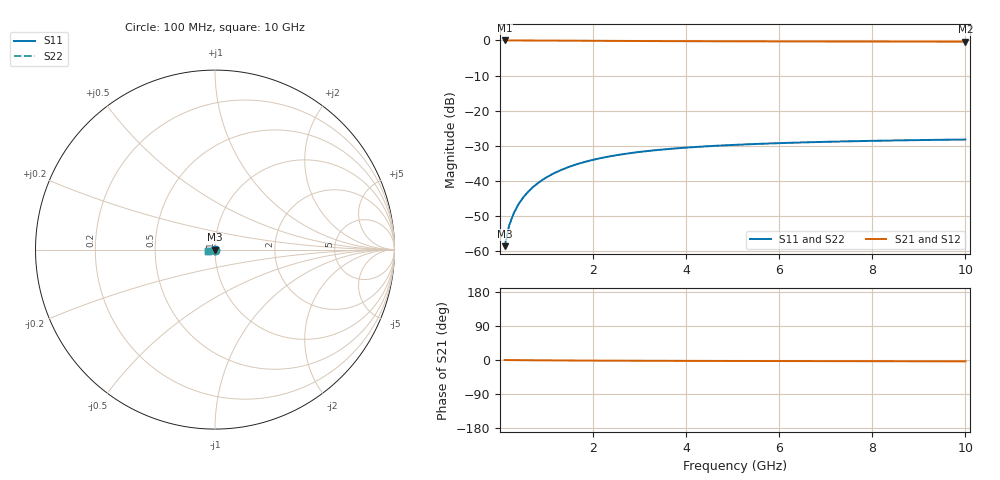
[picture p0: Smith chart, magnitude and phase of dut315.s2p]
! Touchstone file exported from HFSS 2024.1.0
!  File:  C:/UserFiles/LocalFiles/RDL_TSV_Batchsim/temp_TSV1_315_1779616409.aedt
!  Generated:  05:58:50 PM May 24, 2026
!  Design:  TSV1
!  Project:  temp_TSV1_315_1779616409
!  Setup:  Setup1
!  Solution:  Sweep
! Variables:
!  dtsv = 14.98um
!  hbump = 3um
!  htsv = 50.6um
!  lrdl = 252.1521522um
!  p = 40
!  p1 = 52.85um
!  t = 500um
!  trdl = 3um
!  wrdl = 24.89489489um
# GHz S MA R 50.000000
! Terminal data exported
! Port[1] = TSV22_T1
! Port[2] = TSV22_T2
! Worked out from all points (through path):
!   100 points, 100 MHz to 10 GHz, reference 50 ohm
!   highest |S21| = 0.00 dB at 100 MHz (marker M1); lowest = -0.3 dB at 10 GHz (marker M2)
!   lowest |S11| = -58.5 dB at 100 MHz (marker M3), VSWR 1.00, Z = 50 - j0.119 ohm
!   |S11| at or under -10 dB: start of sweep to end of sweep
!   |S22| runs from -58.5 to -28.2 dB; largest |S21 - S12| = 4.2e-15
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0.1  0.001185 -88.8  0.9999 -0.1  0.9999 -0.1  0.001185 -88.8
! Gamma 0 0 0 0
! Port Impedance 50 0 50 0
0.2  0.002365 -92.2  0.9998 -0.2  0.9998 -0.2  0.002365 -92.2
0.3  0.003538 -94.5  0.9996 -0.3  0.9996 -0.3  0.003538 -94.5
0.4  0.0047 -96.6  0.9993 -0.4  0.9993 -0.4  0.0047 -96.6
0.5  0.005849 -98.6  0.9989 -0.5  0.9989 -0.5  0.005849 -98.6
0.6  0.006982 -100.4  0.9985 -0.6  0.9985 -0.6  0.006982 -100.4
0.7  0.008094 -102.3  0.998 -0.7  0.998 -0.7  0.008094 -102.3
0.8  0.009185 -104.1  0.9975 -0.8  0.9975 -0.8  0.009185 -104.1
0.9  0.01025 -105.8  0.9969 -0.9  0.9969 -0.9  0.01025 -105.8
1.1  0.0123 -109.2  0.9957 -1.0  0.9957 -1.0  0.0123 -109.2
1.4  0.01516 -113.9  0.9935 -1.2  0.9935 -1.2  0.01516 -113.9
1.6  0.01691 -116.9  0.992 -1.4  0.992 -1.4  0.01691 -116.9
1.8  0.01854 -119.7  0.9905 -1.5  0.9905 -1.5  0.01854 -119.7
2.1  0.02075 -123.6  0.9882 -1.6  0.9882 -1.6  0.02075 -123.6
2.5  0.02331 -128.3  0.9854 -1.8  0.9854 -1.8  0.02331 -128.3
2.9  0.02547 -132.4  0.9827 -2.0  0.9827 -2.0  0.02547 -132.4
3.4  0.02771 -136.8  0.9797 -2.1  0.9797 -2.1  0.02771 -136.8
4.2  0.03051 -142.8  0.9756 -2.3  0.9756 -2.3  0.03051 -142.8
5.1  0.03285 -148.1  0.9719 -2.6  0.9719 -2.6  0.03285 -148.1
6.7  0.03572 -155.3  0.9671 -2.9  0.9671 -2.9  0.03572 -155.3
8.4  0.03773 -161.2  0.9638 -3.2  0.9638 -3.2  0.03773 -161.2
10  0.039 -165.7  0.9616 -3.6  0.9616 -3.6  0.039 -165.7
